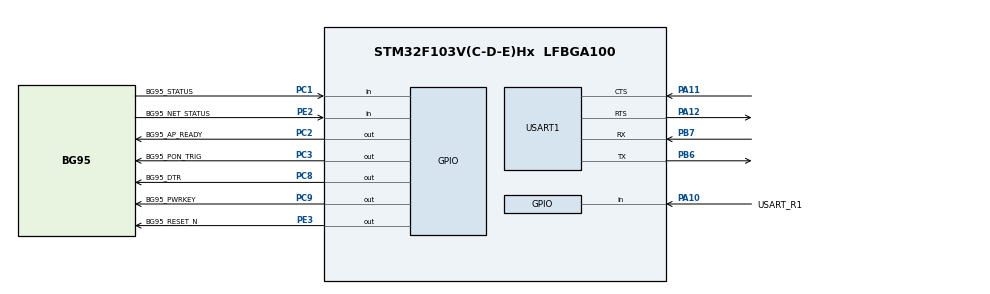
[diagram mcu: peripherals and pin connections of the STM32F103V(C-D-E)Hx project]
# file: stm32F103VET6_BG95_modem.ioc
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Mcu.Family=STM32F1
Mcu.Name=STM32F103V(C-D-E)Hx
Mcu.Package=LFBGA100
NVIC.PriorityGroup=NVIC_PRIORITYGROUP_4
PA10.GPIO_Label=USART_R1
PA10.Signal=GPIO_Input
PA11.Mode=CTS_RTS
PA11.Signal=USART1_CTS
PA12.Mode=CTS_RTS
PA12.Signal=USART1_RTS
PB6.Mode=Asynchronous
PB6.Signal=USART1_TX
PB7.Mode=Asynchronous
PB7.Signal=USART1_RX
PC1.GPIO_Label=BG95_STATUS
PC1.Signal=GPIO_Input
PC2.GPIO_Label=BG95_AP_READY
PC2.Signal=GPIO_Output
PC3.GPIO_Label=BG95_PON_TRIG
PC3.Signal=GPIO_Output
PC8.GPIO_Label=BG95_DTR
PC8.Signal=GPIO_Output
PC9.GPIO_Label=BG95_PWRKEY
PC9.PinState=GPIO_PIN_SET
PC9.Signal=GPIO_Output
PE2.GPIO_Label=BG95_NET_STATUS
PE2.Signal=GPIO_Input
PE3.GPIO_Label=BG95_RESET_N
PE3.PinState=GPIO_PIN_SET
PE3.Signal=GPIO_Output
ProjectManager.HeapSize=0x200
ProjectManager.StackSize=0x400
ProjectManager.TargetToolchain=STM32CubeIDE
RCC.APB1Freq_Value=8000000
RCC.APB2Freq_Value=8000000
USART1.VirtualMode=VM_ASYNC
VP_SYS_VS_ND.Mode=No_Debug
board=custom

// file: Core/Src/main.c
/* USER CODE BEGIN Header */
/**
  ******************************************************************************
  * @file           : main.c
  * @brief          : Main program body
  ******************************************************************************
  * @attention
  *
  * <h2><center>&copy; Copyright (c) 2022 STMicroelectronics.
  * All rights reserved.</center></h2>
  *
  * This software component is licensed by ST under BSD 3-Clause license,
  * the "License"; You may not use this file except in compliance with the
  * License. You may obtain a copy of the License at:
  *                        opensource.org/licenses/BSD-3-Clause
  *
  ******************************************************************************
  */
/* USER CODE END Header */
#include "main.h"

/* USER CODE BEGIN Includes */

#include <stdbool.h>
#include <stdio.h>
#include <string.h>

static bool system_bg_module_is_powered_on(void)
{
    return HAL_GPIO_ReadPin(BG95_STATUS_GPIO_Port, BG95_STATUS_Pin) != 0;
}

static bool system_bg_module_power_on(void)
{
	// Device power up routine (excerpt from BG documentation):
	// When BG96 is in power off mode, it can be turned on to normal mode by driving the PWRKEY
	// pin to a low level for at least 500ms.

	if (system_bg_module_is_powered_on())
	{
		return true;
	}

	HAL_GPIO_WritePin(BG95_RESET_N_GPIO_Port, BG95_RESET_N_Pin, GPIO_PIN_RESET);
	HAL_GPIO_WritePin(BG95_PWRKEY_GPIO_Port, BG95_PWRKEY_Pin, GPIO_PIN_RESET);

	HAL_Delay(1000);

	HAL_GPIO_WritePin(BG95_RESET_N_GPIO_Port, BG95_RESET_N_Pin, GPIO_PIN_SET);
	HAL_GPIO_WritePin(BG95_PWRKEY_GPIO_Port, BG95_PWRKEY_Pin, GPIO_PIN_SET);

	HAL_Delay(2000);

	return system_bg_module_is_powered_on();
}

static bool system_bg_module_power_off(void)
{
	// Device power down routine (excerpt from BG documentation):
	// Driving the PWRKEY pin to a low level voltage for at least 650ms,
	// the module will execute power-down procedure after the PWRKEY is released.

	if (!system_bg_module_is_powered_on())
	{
		return true;
	}

    HAL_GPIO_WritePin(BG95_RESET_N_GPIO_Port, BG95_RESET_N_Pin, GPIO_PIN_RESET);
    HAL_GPIO_WritePin(BG95_PWRKEY_GPIO_Port, BG95_PWRKEY_Pin, GPIO_PIN_RESET);

    HAL_Delay(1000);

    HAL_GPIO_WritePin(BG95_RESET_N_GPIO_Port, BG95_RESET_N_Pin, GPIO_PIN_SET);
    HAL_GPIO_WritePin(BG95_PWRKEY_GPIO_Port, BG95_PWRKEY_Pin, GPIO_PIN_SET);

    HAL_Delay(1000);

    return !system_bg_module_is_powered_on();
}

/* USER CODE END Includes */

UART_HandleTypeDef huart1;

void SystemClock_Config(void);
static void MX_GPIO_Init(void);
static void MX_USART1_UART_Init(void);

int main(void)
{

  /* MCU Configuration--------------------------------------------------------*/

  /* Reset of all peripherals, Initializes the Flash interface and the Systick. */
  HAL_Init();

  /* Configure the system clock */
  SystemClock_Config();

  /* Initialize all configured peripherals */
  MX_GPIO_Init();
  MX_USART1_UART_Init();
  /* USER CODE BEGIN 2 */

  uint16_t receive_buffer_length = 1024;
  uint8_t receive_buffer[receive_buffer_length];

  char* bg95_uart_echo_cmd = "ATE1\r\0";
  char* bg95_imei_cmd = "AT+GSN\r\0";

  if (system_bg_module_is_powered_on)
  {
	  while (!system_bg_module_power_off());
  }
  while (!system_bg_module_power_on());

  HAL_StatusTypeDef status = HAL_OK;
  uint16_t bytes_read = 0;
  uint16_t cmd_length = 0;

  /* USER CODE END 2 */

  /* Infinite loop */
  while (1)
  {

    /* USER CODE BEGIN 3 */
    memset(receive_buffer, '\0', receive_buffer_length);
	cmd_length = strlen(bg95_imei_cmd);
	status = HAL_UART_Transmit(&huart1, bg95_imei_cmd, cmd_length, 1000);
	status = HAL_UART_Receive(&huart1, receive_buffer, receive_buffer_length, 1000);
	bytes_read = receive_buffer_length - huart1.RxXferCount;
	if (bytes_read > 0)
	{
		for (uint16_t i = 0; i < bytes_read; i++)
		{
			char lol = receive_buffer[i];
		}
	}
  }
  /* USER CODE END 3 */
}

void SystemClock_Config(void)
{
  RCC_OscInitTypeDef RCC_OscInitStruct = {0};
  RCC_ClkInitTypeDef RCC_ClkInitStruct = {0};

  /** Initializes the RCC Oscillators according to the specified parameters
  * in the RCC_OscInitTypeDef structure.
  */
  RCC_OscInitStruct.OscillatorType = RCC_OSCILLATORTYPE_HSI;
  RCC_OscInitStruct.HSIState = RCC_HSI_ON;
  RCC_OscInitStruct.HSICalibrationValue = RCC_HSICALIBRATION_DEFAULT;
  RCC_OscInitStruct.PLL.PLLState = RCC_PLL_NONE;
  if (HAL_RCC_OscConfig(&RCC_OscInitStruct) != HAL_OK)
  {
    Error_Handler();
  }
  /** Initializes the CPU, AHB and APB buses clocks
  */
  RCC_ClkInitStruct.ClockType = RCC_CLOCKTYPE_HCLK|RCC_CLOCKTYPE_SYSCLK
                              |RCC_CLOCKTYPE_PCLK1|RCC_CLOCKTYPE_PCLK2;
  RCC_ClkInitStruct.SYSCLKSource = RCC_SYSCLKSOURCE_HSI;
  RCC_ClkInitStruct.AHBCLKDivider = RCC_SYSCLK_DIV1;
  RCC_ClkInitStruct.APB1CLKDivider = RCC_HCLK_DIV1;
  RCC_ClkInitStruct.APB2CLKDivider = RCC_HCLK_DIV1;

  if (HAL_RCC_ClockConfig(&RCC_ClkInitStruct, FLASH_LATENCY_0) != HAL_OK)
  {
    Error_Handler();
  }
}

static void MX_USART1_UART_Init(void)
{

  huart1.Instance = USART1;
  huart1.Init.BaudRate = 115200;
  huart1.Init.WordLength = UART_WORDLENGTH_8B;
  huart1.Init.StopBits = UART_STOPBITS_1;
  huart1.Init.Parity = UART_PARITY_NONE;
  huart1.Init.Mode = UART_MODE_TX_RX;
  huart1.Init.HwFlowCtl = UART_HWCONTROL_RTS_CTS;
  huart1.Init.OverSampling = UART_OVERSAMPLING_16;
  if (HAL_UART_Init(&huart1) != HAL_OK)
  {
    Error_Handler();
  }

}

static void MX_GPIO_Init(void)
{
  GPIO_InitTypeDef GPIO_InitStruct = {0};

  /* GPIO Ports Clock Enable */
  __HAL_RCC_GPIOE_CLK_ENABLE();
  __HAL_RCC_GPIOB_CLK_ENABLE();
  __HAL_RCC_GPIOA_CLK_ENABLE();
  __HAL_RCC_GPIOC_CLK_ENABLE();

  /*Configure GPIO pin Output Level */
  HAL_GPIO_WritePin(BG95_RESET_N_GPIO_Port, BG95_RESET_N_Pin, GPIO_PIN_SET);

  /*Configure GPIO pin Output Level */
  HAL_GPIO_WritePin(GPIOC, BG95_AP_READY_Pin|BG95_PON_TRIG_Pin|BG95_DTR_Pin, GPIO_PIN_RESET);

  /*Configure GPIO pin Output Level */
  HAL_GPIO_WritePin(BG95_PWRKEY_GPIO_Port, BG95_PWRKEY_Pin, GPIO_PIN_SET);

  /*Configure GPIO pin : BG95_NET_STATUS_Pin */
  GPIO_InitStruct.Pin = BG95_NET_STATUS_Pin;
  GPIO_InitStruct.Mode = GPIO_MODE_INPUT;
  GPIO_InitStruct.Pull = GPIO_NOPULL;
  HAL_GPIO_Init(BG95_NET_STATUS_GPIO_Port, &GPIO_InitStruct);

  /*Configure GPIO pin : BG95_RESET_N_Pin */
  GPIO_InitStruct.Pin = BG95_RESET_N_Pin;
  GPIO_InitStruct.Mode = GPIO_MODE_OUTPUT_PP;
  GPIO_InitStruct.Pull = GPIO_NOPULL;
  GPIO_InitStruct.Speed = GPIO_SPEED_FREQ_LOW;
  HAL_GPIO_Init(BG95_RESET_N_GPIO_Port, &GPIO_InitStruct);

  /*Configure GPIO pin : USART_R1_Pin */
  GPIO_InitStruct.Pin = USART_R1_Pin;
  GPIO_InitStruct.Mode = GPIO_MODE_INPUT;
  GPIO_InitStruct.Pull = GPIO_NOPULL;
  HAL_GPIO_Init(USART_R1_GPIO_Port, &GPIO_InitStruct);

  /*Configure GPIO pins : BG95_AP_READY_Pin BG95_PWRKEY_Pin BG95_PON_TRIG_Pin BG95_DTR_Pin */
  GPIO_InitStruct.Pin = BG95_AP_READY_Pin|BG95_PWRKEY_Pin|BG95_PON_TRIG_Pin|BG95_DTR_Pin;
  GPIO_InitStruct.Mode = GPIO_MODE_OUTPUT_PP;
  GPIO_InitStruct.Pull = GPIO_NOPULL;
  GPIO_InitStruct.Speed = GPIO_SPEED_FREQ_LOW;
  HAL_GPIO_Init(GPIOC, &GPIO_InitStruct);

  /*Configure GPIO pin : BG95_STATUS_Pin */
  GPIO_InitStruct.Pin = BG95_STATUS_Pin;
  GPIO_InitStruct.Mode = GPIO_MODE_INPUT;
  GPIO_InitStruct.Pull = GPIO_NOPULL;
  HAL_GPIO_Init(BG95_STATUS_GPIO_Port, &GPIO_InitStruct);

}

void Error_Handler(void)
{
  __disable_irq();
  while (1)
  {
  }
}

/************************ (C) COPYRIGHT STMicroelectronics *****END OF FILE****/
